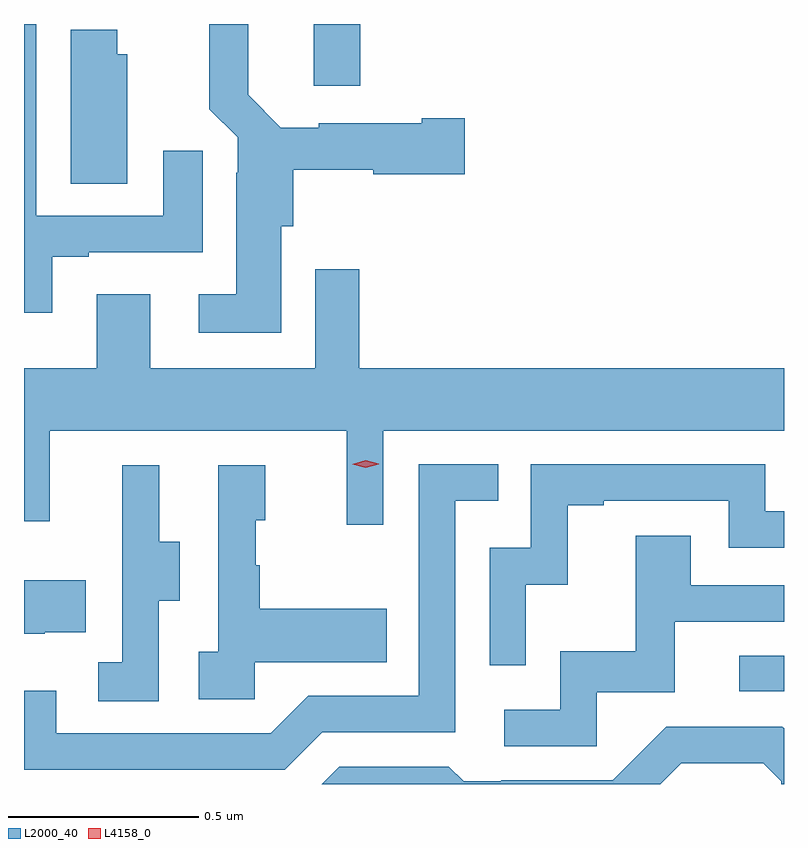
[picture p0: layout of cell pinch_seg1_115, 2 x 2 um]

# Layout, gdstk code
import gdstk
lib = gdstk.Library(unit=1e-6, precision=1e-09)
def R(c, l, rs):  # rectangles x0, y0, x1, y1
    for r in rs: c.add(gdstk.rectangle(r[:2], r[2:], *l))
def P(c, l, *ps):  # polygons
    for p in ps: c.add(gdstk.Polygon(p, *l))
L2000_40 = (2000, 40)
L4158_0 = (4158, 0)

pinch_seg1_115 = lib.new_cell('pinch_seg1_115')
R(pinch_seg1_115, L2000_40, [(1019.157,555.042,1019.275,555.135), (1018.037,556.635,1018.16,556.798)])
P(pinch_seg1_115, L2000_40, [(1017.349,556.185),(1017.445,556.185),(1017.445,556.197),(1017.745,556.197),(1017.745,556.465),(1017.641,556.465),(1017.641,556.293),(1017.307,556.293),(1017.307,556.798),(1017.275,556.798),(1017.275,556.038),(1017.349,556.038)],
  [(1017.952,556.266),(1017.983,556.266),(1017.983,556.415),(1018.194,556.415),(1018.194,556.403),(1018.435,556.403),(1018.435,556.55),(1018.322,556.55),(1018.322,556.537),(1018.05,556.537),(1018.05,556.525),(1017.951,556.525),(1017.865,556.612),(1017.865,556.798),(1017.763,556.798),(1017.763,556.574),(1017.837,556.5),(1017.837,556.406),(1017.833,556.406),(1017.833,556.087),(1017.735,556.087),(1017.735,555.986),(1017.952,555.986)],
  [(1017.547,556.719),(1017.52,556.719),(1017.52,556.783),(1017.398,556.783),(1017.398,556.378),(1017.547,556.378)],
  [(1017.467,556.087),(1017.467,555.892),(1017.275,555.892),(1017.275,555.489),(1017.343,555.489),(1017.343,555.728),(1018.124,555.728),(1018.124,555.48),(1018.221,555.48),(1018.221,555.728),(1019.275,555.728),(1019.275,555.892),(1018.157,555.892),(1018.157,556.153),(1018.041,556.153),(1018.041,555.892),(1017.607,555.892),(1017.607,556.087)],
  [(1018.596,555.323),(1018.706,555.323),(1018.706,555.531),(1018.801,555.531),(1018.801,555.543),(1019.13,555.543),(1019.13,555.42),(1019.275,555.42),(1019.275,555.516),(1019.226,555.516),(1019.226,555.639),(1018.608,555.639),(1018.608,555.42),(1018.5,555.42),(1018.5,555.111),(1018.596,555.111)],
  [(1018.06,554.934),(1018.41,554.934),(1018.41,555.543),(1018.523,555.543),(1018.523,555.639),(1018.314,555.639),(1018.314,555.03),(1018.023,555.03),(1017.924,554.931),(1017.36,554.931),(1017.36,555.043),(1017.275,555.043),(1017.275,554.835),(1017.961,554.835)],
  [(1017.63,555.28),(1017.685,555.28),(1017.685,555.435),(1017.631,555.435),(1017.631,555.637),(1017.533,555.637),(1017.533,555.423),(1017.534,555.423),(1017.534,555.119),(1017.471,555.119),(1017.471,555.016),(1017.63,555.016)],
  [(1017.882,555.119),(1018.229,555.119),(1018.229,555.259),(1017.895,555.259),(1017.895,555.374),(1017.885,555.374),(1017.885,555.492),(1017.91,555.492),(1017.91,555.637),(1017.786,555.637),(1017.786,555.146),(1017.735,555.146),(1017.735,555.021),(1017.882,555.021)],
  [(1018.782,555.039),(1018.987,555.039),(1018.987,555.225),(1019.275,555.225),(1019.275,555.321),(1019.029,555.321),(1019.029,555.451),(1018.885,555.451),(1018.885,555.148),(1018.686,555.148),(1018.686,554.994),(1018.539,554.994),(1018.539,554.898),(1018.782,554.898)],
  [(1017.329,555.197),(1017.437,555.197),(1017.437,555.334),(1017.275,555.334),(1017.275,555.194),(1017.329,555.194)],
  [(1019.004,554.853),(1019.22,554.853),(1019.268,554.805),(1019.268,554.798),(1019.275,554.798),(1019.275,554.945),(1019.271,554.949),(1018.965,554.949),(1018.824,554.808),(1018.531,554.808),(1018.531,554.805),(1018.432,554.805),(1018.393,554.844),(1018.104,554.844),(1018.058,554.798),(1018.949,554.798)])
P(pinch_seg1_115, L4158_0, [(1018.174,555.63),(1018.139,555.639),(1018.138,555.639),(1018.139,555.639),(1018.174,555.65),(1018.209,555.641),(1018.209,555.641),(1018.209,555.64)])

lib.write_gds('pinch_seg1_115.gds')
